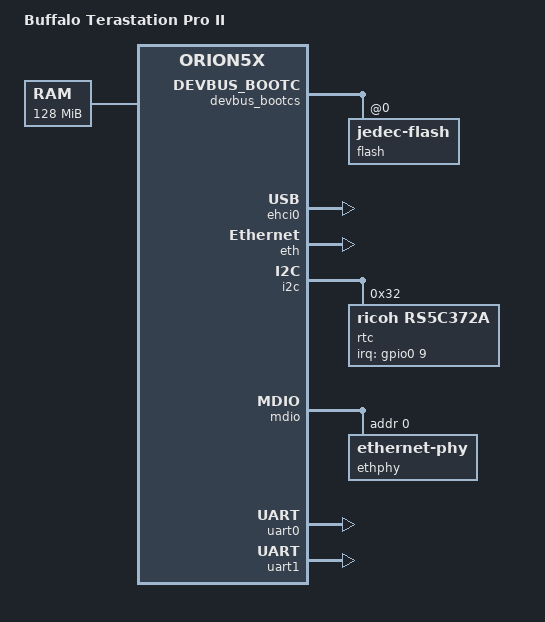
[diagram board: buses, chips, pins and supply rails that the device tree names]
// SPDX-License-Identifier: (GPL-2.0+ OR MIT)
/*
 * Device Tree file for Buffalo Terastation Pro II/Live
 *
 * Copyright (C) 2021 Andrew Lunn <andrew@lunn.ch>
 */
/dts-v1/;

#include <dt-bindings/gpio/gpio.h>
#include <dt-bindings/interrupt-controller/irq.h>
#include "orion5x-mv88f5182.dtsi"

/ {
	model = "Buffalo Terastation Pro II";
	compatible = "buffalo,pro2", "marvell,orion5x-88f5182", "marvell,orion5x";

	memory { /* 128 MB */
		device_type = "memory";
		reg = <0x00000000 0x8000000>;
	};

	soc {
		ranges = <MBUS_ID(0xf0, 0x01) 0 0xf1000000 0x100000>,
				 <MBUS_ID(0x09, 0x00) 0 0xf2200000 0x800>,
				 <MBUS_ID(0x01, 0x0f) 0 0xf4000000 0x40000>;
	};

};

&devbus_bootcs {
	status = "okay";
	devbus,keep-config;

	flash@0 {
		compatible = "jedec-flash";
		reg = <0 0x40000>;
		bank-width = <1>;
	};
};

&ehci0 {
	status = "okay";
};

&eth {
	status = "okay";

	ethernet-port@0 {
		phy-handle = <&ethphy>;
	};

};

&i2c {
	status = "okay";

	rtc@32 {
		compatible = "ricoh,rs5c372a";
		reg = <0x32>;
		interrupt-parent = <&gpio0>;
		pinctrl-0 = <&pmx_rtc>;
		pinctrl-names = "default";
		interrupts = <9 IRQ_TYPE_LEVEL_HIGH>;
	};
};

&mdio {
	status = "okay";

	ethphy: ethernet-phy {
		reg = <0>;
	};
};

&uart0 {
	status = "okay";
};

&uart1 {
	status = "okay";
};

&wdt {
	status = "disabled";
};

&pinctrl {
	pinctrl-0 = <&pmx_pci_gpios>;
	pinctrl-names = "default";

	pmx_pci_gpios: pmx-pci-gpios {
		marvell,pins = "mpp0, mpp11";
		marvell,function = "gpio";
	};

	pmx_rtc: pmx-rtc {
		marvell,pins = "mpp9";
		marvell,function = "gpio";
	};
};
